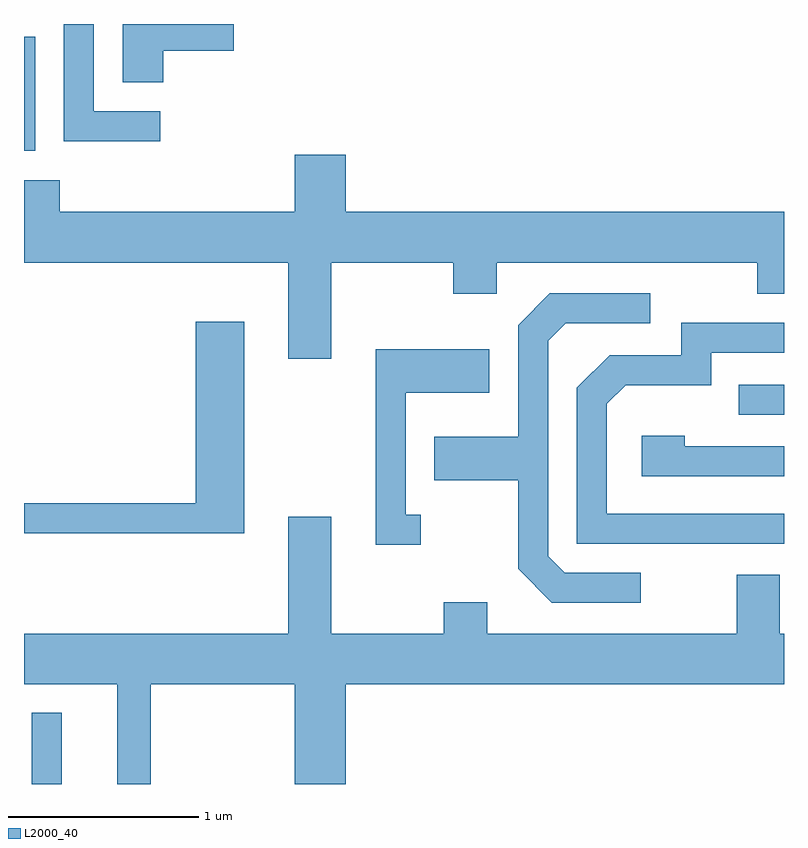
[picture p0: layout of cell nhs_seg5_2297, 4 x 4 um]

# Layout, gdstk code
import gdstk
lib = gdstk.Library(unit=1e-6, precision=1e-09)
def R(c, l, rs):  # rectangles x0, y0, x1, y1
    for r in rs: c.add(gdstk.rectangle(r[:2], r[2:], *l))
def P(c, l, *ps):  # polygons
    for p in ps: c.add(gdstk.Polygon(p, *l))
L2000_40 = (2000, 40)

nhs_seg5_2297 = lib.new_cell('nhs_seg5_2297')
R(nhs_seg5_2297, L2000_40, [(253.651,1434.072,253.809,1434.448), (257.373,1436.016,257.611,1436.174), (253.611,1437.406,253.669,1438.004)])
P(nhs_seg5_2297, L2000_40, [(254.344,1437.931),(254.714,1437.931),(254.714,1438.072),(254.131,1438.072),(254.131,1437.766),(254.344,1437.766)],
  [(254.328,1437.614),(253.979,1437.614),(253.979,1438.072),(253.821,1438.072),(253.821,1437.456),(254.328,1437.456)],
  [(255.229,1436.816),(255.871,1436.816),(255.871,1436.651),(256.099,1436.651),(256.099,1436.816),(257.471,1436.816),(257.471,1436.651),(257.611,1436.651),(257.611,1437.084),(255.304,1437.084),(255.304,1437.384),(255.036,1437.384),(255.036,1437.084),(253.799,1437.084),(253.799,1437.249),(253.611,1437.249),(253.611,1436.816),(255.001,1436.816),(255.001,1436.311),(255.229,1436.311)],
  [(256.858,1435.184),(256.457,1435.184),(256.369,1435.272),(256.369,1436.404),(256.462,1436.496),(256.908,1436.496),(256.908,1436.654),(256.379,1436.654),(256.211,1436.487),(256.211,1435.899),(255.771,1435.899),(255.771,1435.671),(256.211,1435.671),(256.211,1435.204),(256.389,1435.026),(256.858,1435.026)],
  [(254.769,1436.504),(254.516,1436.504),(254.516,1435.549),(253.611,1435.549),(253.611,1435.391),(254.769,1435.391)],
  [(257.611,1435.494),(256.679,1435.494),(256.679,1436.074),(256.777,1436.171),(257.229,1436.171),(257.229,1436.341),(257.611,1436.341),(257.611,1436.499),(257.071,1436.499),(257.071,1436.329),(256.694,1436.329),(256.521,1436.157),(256.521,1435.336),(257.611,1435.336)],
  [(255.698,1435.489),(255.619,1435.489),(255.619,1436.131),(256.059,1436.131),(256.059,1436.359),(255.461,1436.359),(255.461,1435.331),(255.698,1435.331)],
  [(257.611,1435.849),(257.089,1435.849),(257.089,1435.904),(256.861,1435.904),(256.861,1435.691),(257.611,1435.691)],
  [(254.279,1434.596),(255.036,1434.596),(255.036,1434.072),(255.304,1434.072),(255.304,1434.596),(257.611,1434.596),(257.611,1434.864),(257.589,1434.864),(257.589,1435.174),(257.361,1435.174),(257.361,1434.864),(256.049,1434.864),(256.049,1435.029),(255.821,1435.029),(255.821,1434.864),(255.229,1434.864),(255.229,1435.479),(255.001,1435.479),(255.001,1434.864),(253.611,1434.864),(253.611,1434.596),(254.101,1434.596),(254.101,1434.072),(254.279,1434.072)])

lib.write_gds('nhs_seg5_2297.gds')
